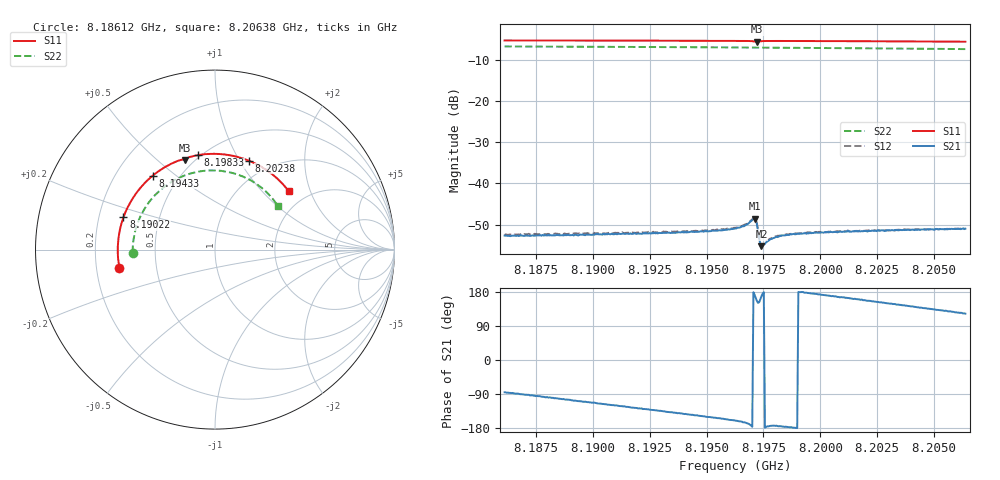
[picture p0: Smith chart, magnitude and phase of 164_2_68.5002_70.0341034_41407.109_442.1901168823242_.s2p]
#  HZ  S  RI  R  50.00
! Rohde & Schwarz Vector Network Analyzer
! Rohde-Schwarz,ZNB20-2Port,1311601062101988,3.16
! Created: UTC 3/20/2024, 4:55:55 PM
! freq[Hz]  re:S11  im:S11  re:S21  im:S21  re:S12  im:S12  re:S22  im:S22
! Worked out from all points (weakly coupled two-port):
!   401 points, 8.18612 GHz to 8.20638 GHz, reference 50 ohm
!   highest |S21| = -48.52 dB at 8.19711 GHz (marker M1); lowest = -55.2 dB at 8.19742 GHz (marker M2)
!   lowest |S11| = -5.6 dB at 8.19721 GHz (marker M3), VSWR 3.20, Z = 22.6 + j30.9 ohm
!   |S11| at or under -10 dB: nowhere
!   |S22| runs from -7.4 to -6.8 dB; largest |S21 - S12| = 0.00021
!   S11 on the Smith chart (normalised r, x): 8.18612 GHz: 0.30, -0.09; 8.19022 GHz: 0.31, +0.16; 8.19433 GHz: 0.36, +0.42; 8.19833 GHz: 0.48, +0.71; 8.20238 GHz: 0.79, +1.10; 8.20638 GHz: 1.60, +1.44
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8.186121e9  -0.5326 -0.1032  0.000197 -0.00233  0.000145 -0.00243  -0.4584 -0.0172
8.187742e9  -0.5418 0.00965  -0.000259 -0.00231  -0.000321 -0.00242  -0.4514 0.0722
8.189514e9  -0.5248 0.1324  -0.000786 -0.00226  -0.000883 -0.00227  -0.4238 0.166
8.190224e9  -0.5101 0.1799  -0.00102 -0.00221  -0.00109 -0.00225  -0.4072 0.2015
8.192908e9  -0.4168 0.3425  -0.00175 -0.00181  -0.00183 -0.00182  -0.3176 0.3201
8.194326e9  -0.3461 0.4127  -0.00213 -0.00151  -0.0022 -0.00146  -0.2558 0.369
8.196251e9  -0.2302 0.4847  -0.00268 -0.000975  -0.00276 -0.000897  -0.1596 0.4166
8.196707e9  -0.1991 0.4971  -0.00302 -0.0008  -0.00313 -0.000685  -0.1352 0.4245
8.197011e9  -0.1756 0.5017  -0.0036 -0.00024  -0.00369 -5.52e-05  -0.1185 0.4286
8.197112e9  -0.168 0.4999  -0.00371 0.000514  -0.00377 0.000646  -0.1131 0.4298
8.197163e9  -0.1659 0.498  -0.00347 0.00102  -0.00348 0.00116  -0.1102 0.4303
8.197214e9  -0.1658 0.4968  -0.00295 0.00131  -0.00296 0.00148  -0.1076 0.4309
8.197366e9  -0.1632 0.5045  -0.00174 0.000618  -0.00174 0.000708  -0.0994 0.4327
8.197416e9  -0.1601 0.5071  -0.0017 0.000348  -0.00174 0.000427  -0.0966 0.4333
8.197518e9  -0.1528 0.5113  -0.00181 3.7e-05  -0.00181 0.000102  -0.0911 0.4347
8.197872e9  -0.1268 0.5198  -0.00211 -0.000243  -0.00218 -0.000177  -0.0712 0.4376
8.198328e9  -0.0944 0.5265  -0.00234 -0.000183  -0.00236 -8.06e-05  -0.0454 0.4401
8.199645e9  -0.000935 0.5338  -0.00251 0.0002  -0.00254 0.000299  0.0289 0.4392
8.20238e9  0.1877 0.4959  -0.0024 0.00116  -0.00238 0.00129  0.1779 0.3967
8.203039e9  0.2302 0.4766  -0.00232 0.00139  -0.00229 0.00146  0.2112 0.3786
8.204558e9  0.3206 0.4183  -0.00203 0.00189  -0.00197 0.00196  0.2812 0.3258
8.206382e9  0.4105 0.3257  -0.00151 0.0024  -0.00148 0.00244  0.3495 0.2441
